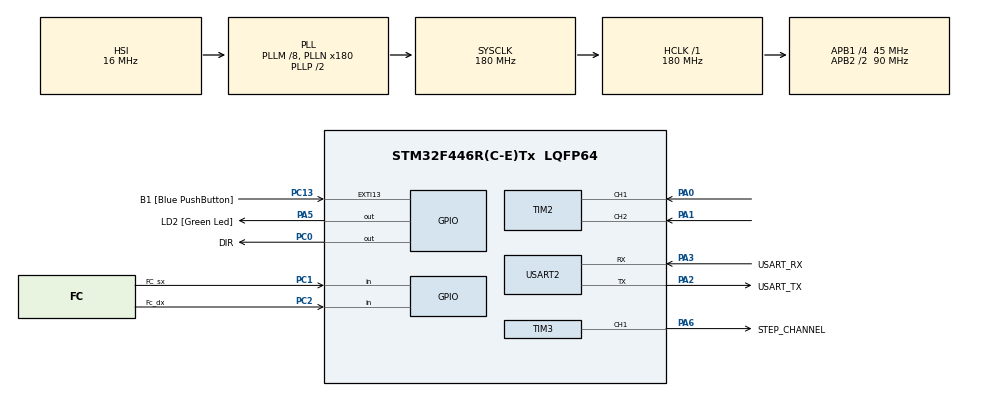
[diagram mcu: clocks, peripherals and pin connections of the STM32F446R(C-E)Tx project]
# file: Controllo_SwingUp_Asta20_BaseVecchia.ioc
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Mcu.Family=STM32F4
Mcu.Name=STM32F446R(C-E)Tx
Mcu.Package=LQFP64
NVIC.EXTI15_10_IRQn=true\:0\:0\:false\:false\:true\:true\:true\:false
NVIC.PriorityGroup=NVIC_PRIORITYGROUP_4
NVIC.TIM3_IRQn=true\:1\:0\:false\:false\:true\:true\:true\:true
PA0-WKUP.GPIO_PuPd=GPIO_PULLUP
PA0-WKUP.Signal=S_TIM2_CH1_ETR
PA1.GPIO_PuPd=GPIO_PULLUP
PA1.Signal=S_TIM2_CH2
PA13.GPIO_Label=TMS
PA13.Mode=Serial_Wire
PA13.Signal=SYS_JTMS-SWDIO
PA14.GPIO_Label=TCK
PA14.Mode=Serial_Wire
PA14.Signal=SYS_JTCK-SWCLK
PA2.GPIO_Label=USART_TX
PA2.Mode=Asynchronous
PA2.Signal=USART2_TX
PA3.GPIO_Label=USART_RX
PA3.Mode=Asynchronous
PA3.Signal=USART2_RX
PA5.GPIO_Label=LD2 [Green Led]
PA5.Signal=GPIO_Output
PA6.GPIO_Label=STEP_CHANNEL
PA6.Signal=S_TIM3_CH1
PB3.GPIO_Label=SWO
PB3.Signal=SYS_JTDO-SWO
PC0.GPIO_Label=DIR
PC0.Signal=GPIO_Output
PC1.GPIO_Label=FC_sx
PC1.GPIO_PuPd=GPIO_PULLDOWN
PC1.Signal=GPIO_Input
PC13.GPIO_Label=B1 [Blue PushButton]
PC13.GPIO_ModeDefaultEXTI=GPIO_MODE_IT_RISING_FALLING
PC13.Signal=GPXTI13
PC14-OSC32_IN.Mode=LSE-External-Oscillator
PC14-OSC32_IN.Signal=RCC_OSC32_IN
PC15-OSC32_OUT.Mode=LSE-External-Oscillator
PC15-OSC32_OUT.Signal=RCC_OSC32_OUT
PC2.GPIO_Label=Fc_dx
PC2.GPIO_PuPd=GPIO_PULLDOWN
PC2.Signal=GPIO_Input
PH0-OSC_IN.Mode=HSE-External-Oscillator
PH0-OSC_IN.Signal=RCC_OSC_IN
PH1-OSC_OUT.Mode=HSE-External-Oscillator
PH1-OSC_OUT.Signal=RCC_OSC_OUT
ProjectManager.HeapSize=0x800
ProjectManager.StackSize=0x800
ProjectManager.TargetToolchain=STM32CubeIDE
RCC.48MHZClocksFreq_Value=84000000
RCC.AHBFreq_Value=180000000
RCC.APB1CLKDivider=RCC_HCLK_DIV4
RCC.APB1Freq_Value=45000000
RCC.APB1TimFreq_Value=90000000
RCC.APB2CLKDivider=RCC_HCLK_DIV2
RCC.APB2Freq_Value=90000000
RCC.APB2TimFreq_Value=180000000
RCC.CortexFreq_Value=180000000
RCC.FLatency-AdvancedSettings=FLASH_LATENCY_5
RCC.HCLKFreq_Value=180000000
RCC.HSE_VALUE=8000000
RCC.HSI_VALUE=16000000
RCC.PLLM=8
RCC.PLLN=180
RCC.PLLP=2
RCC.SYSCLKFreq_VALUE=180000000
RCC.SYSCLKSource=RCC_SYSCLKSOURCE_PLLCLK
RCC.USBFreq_Value=180000000
RCC.VCOOutputFreq_Value=360000000
SH.S_TIM2_CH1_ETR.0=TIM2_CH1,Encoder_Interface
SH.S_TIM2_CH2.0=TIM2_CH2,Encoder_Interface
SH.S_TIM3_CH1.0=TIM3_CH1,PWM Generation1 CH1
STMicroelectronics.X-CUBE-AI.10.1.0.ActivationBufferSizeList=3032
STMicroelectronics.X-CUBE-AI.10.1.0.ActivationBuffers=pool0
STMicroelectronics.X-CUBE-AI.10.1.0.ActivationNames=pool0
STMicroelectronics.X-CUBE-AI.10.1.0.ActivationSizes=AI_NETWORK_DATA_ACTIVATION_1_SIZE
STMicroelectronics.X-CUBE-AI.10.1.0.HeapSize=0x800
STMicroelectronics.X-CUBE-AI.10.1.0.InternalRamActivationBufferMaxSize=AI_NETWORK_DATA_ACTIVATIONS_SIZE
STMicroelectronics.X-CUBE-AI.10.1.0.LatestDirectoryUsed-92f86609272449346e2c80d9b0526046b2d6c99d2a002351901f938909888c08=/Users/salvo/Desktop/Prog Embedded/cart-inverted-pendulum/cart_pendolo_velocita_rl/export_stm32
STMicroelectronics.X-CUBE-AI.10.1.0.MaximumNumberOfInputLayer=1
STMicroelectronics.X-CUBE-AI.10.1.0.MaximumNumberOfOutputLayer=1
STMicroelectronics.X-CUBE-AI.10.1.0.MaximumSizeOfInputLayer=1
STMicroelectronics.X-CUBE-AI.10.1.0.MaximumSizeOfOutputLayer=1
STMicroelectronics.X-CUBE-AI.10.1.0.ModelActualCompression-92f86609272449346e2c80d9b0526046b2d6c99d2a002351901f938909888c08=0.0
STMicroelectronics.X-CUBE-AI.10.1.0.ModelCompression-92f86609272449346e2c80d9b0526046b2d6c99d2a002351901f938909888c08=None
STMicroelectronics.X-CUBE-AI.10.1.0.ModelFlashOccupation-92f86609272449346e2c80d9b0526046b2d6c99d2a002351901f938909888c08=80994
STMicroelectronics.X-CUBE-AI.10.1.0.ModelHashList=92f86609272449346e2c80d9b0526046b2d6c99d2a002351901f938909888c08
STMicroelectronics.X-CUBE-AI.10.1.0.ModelKind-92f86609272449346e2c80d9b0526046b2d6c99d2a002351901f938909888c08=ONNX
STMicroelectronics.X-CUBE-AI.10.1.0.ModelMacc-92f86609272449346e2c80d9b0526046b2d6c99d2a002351901f938909888c08=17803
STMicroelectronics.X-CUBE-AI.10.1.0.ModelName-92f86609272449346e2c80d9b0526046b2d6c99d2a002351901f938909888c08=network
STMicroelectronics.X-CUBE-AI.10.1.0.ModelNameList=network
STMicroelectronics.X-CUBE-AI.10.1.0.ModelRamOccupation-92f86609272449346e2c80d9b0526046b2d6c99d2a002351901f938909888c08=3032
STMicroelectronics.X-CUBE-AI.10.1.0.ModelStructureFile-92f86609272449346e2c80d9b0526046b2d6c99d2a002351901f938909888c08=/Users/salvo/Desktop/Prog Embedded/cart-inverted-pendulum/cart_pendolo_velocita_rl/export_stm32/pendolo_actor.onnx
STMicroelectronics.X-CUBE-AI.10.1.0.ModelType-92f86609272449346e2c80d9b0526046b2d6c99d2a002351901f938909888c08=STM32Cube.AI MCU runtime
STMicroelectronics.X-CUBE-AI.10.1.0.ReadyForCodeGeneration=true
STMicroelectronics.X-CUBE-AI.10.1.0.StackSize=0x800
STMicroelectronics.X-CUBE-AI.10.1.0.WorkingBufferStartAddrList=0xFFFFFFFF
STMicroelectronics.X-CUBE-AI.10.1.0.XAaCUBEAaAICcArtificialOoIntelligenceJjCore=true
STMicroelectronics.X-CUBE-AI.10.1.0.copyWeightToRam-92f86609272449346e2c80d9b0526046b2d6c99d2a002351901f938909888c08=false
STMicroelectronics.X-CUBE-AI.10.1.0.customLayerConfigEnabled-92f86609272449346e2c80d9b0526046b2d6c99d2a002351901f938909888c08=false
STMicroelectronics.X-CUBE-AI.10.1.0.noOnnxIoTranspose-92f86609272449346e2c80d9b0526046b2d6c99d2a002351901f938909888c08=false
STMicroelectronics.X-CUBE-AI.10.1.0.useInputAllocation-92f86609272449346e2c80d9b0526046b2d6c99d2a002351901f938909888c08=true
STMicroelectronics.X-CUBE-AI.10.1.0.useOutputAllocation-92f86609272449346e2c80d9b0526046b2d6c99d2a002351901f938909888c08=true
TIM2.EncoderMode=TIM_ENCODERMODE_TI12
TIM2.IC1Filter=15
TIM2.IC2Filter=15
TIM3.AutoReloadPreload=TIM_AUTORELOAD_PRELOAD_ENABLE
TIM3.Channel-PWM\ Generation1\ CH1=TIM_CHANNEL_1
TIM3.Period=124
TIM3.Prescaler=83
TIM3.Pulse-PWM\ Generation1\ CH1=6
USART2.VirtualMode=VM_ASYNC
VP_CRC_VS_CRC.Mode=CRC_Activate
VP_STMicroelectronics.X-CUBE-AI_VS_ArtificialOoIntelligenceJjXAaCUBEAaAI_10.1.0.Mode=ArtificialOoIntelligenceJjXAaCUBEAaAI
VP_TIM3_VS_ClockSourceINT.Mode=Internal
board=NUCLEO-F446RE

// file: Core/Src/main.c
/* USER CODE BEGIN Header */
/**
  ******************************************************************************
  * @file           : main.c
  * @brief          : Main program body
  ******************************************************************************
  * @attention
  *
  * Copyright (c) 2026 STMicroelectronics.
  * All rights reserved.
  *
  * This software is licensed under terms that can be found in the LICENSE file
  * in the root directory of this software component.
  * If no LICENSE file comes with this software, it is provided AS-IS.
  *
  ******************************************************************************
  */
/* USER CODE END Header */
#include "main.h"

/* USER CODE BEGIN Includes */
#include <math.h>
#include "network.h"
#include "network_data.h"
#include "stima.h"
#include "config_controllo.h"  /* generato da esporta_firmware.py */
#include "reti_candidate.h"    /* generato da esporta_firmware.py (pesi delle reti) */
#include <string.h>

/* USER CODE END Includes */

/* USER CODE BEGIN PD */
/* Swing-up (Controllo_SwingUp_Asta20_BaseVecchia, asta 0,78 / 0,20 m). Tutti i numeri legati all'addestramento
 * (motore, rampa, scale degli ingressi, limite di corsa, stimatore, controlli
 * dell'encoder) sono in Core/Inc/config_controllo.h, scritto da
 * cart_pendolo_velocita_rl/esporta_firmware.py dalla configurazione salvata
 * con la rete. Non correggerli qui: cambiare config.toml e riesportare.
 */
#define MIRCOSTEP CFG_MICROSTEP
#define STEP_CHANNEL TIM_CHANNEL_1
#define MIN_FREQUENCY CFG_FREQ_MIN_HZ
#define MAX_FREQUENCY CFG_FREQ_MAX_HZ
#define STEPPER_ACCELERATION_HZ_PER_S CFG_RAMPA_HZ_S

// tutte i punti di rif sono da dietro
#define DIR_FORWARD  GPIO_PIN_SET   //SInistra (da dietro)
#define DIR_BACKWARD GPIO_PIN_RESET

/* Homing indipendente dalla configurazione della rete (prima: 2 x 3200 Hz). */
#define HOMING_VELOCITY_HZ  (6400.0f)
#define HOMING_TIMEOUT_MS  120000U
#define BUTTON_RELEASE_MS  50U
#define THETA_STABILE_MS    1000U
#define THETA_TIMEOUT_MS   30000U

/* Periodo della rete da config_controllo.h ([episodio].periodo_controllo_s):
 * 20 ms per le reti fino al 14/10, 10 ms per quelle addestrate a 100 Hz. */
#ifndef CFG_PERIODO_CONTROLLO_MS
#define CFG_PERIODO_CONTROLLO_MS 20U
#endif
#ifndef CFG_TICK_FERMO_INVERSIONE
#define CFG_TICK_FERMO_INVERSIONE 0U
#endif
/* Attesa attiva dopo un cambio di DIR a motore fermo: ~300 iterazioni
 * volatili >= 6 us a 180 MHz (TB6600 e simili chiedono 5 us di setup). */
#define DIR_SETUP_CICLI          300U
#define CONTROL_PERIOD_MS        CFG_PERIODO_CONTROLLO_MS
#define MOTOR_PERIOD_MS          2U
#define CONTROL_TIMEOUT_MS       (2U * CONTROL_PERIOD_MS)
#if CONTROL_PERIOD_MS < 4U || (CONTROL_PERIOD_MS % MOTOR_PERIOD_MS) != 0U
#error "Il periodo della rete deve essere un multiplo di 2 ms (almeno 4 ms)"
#endif
#define METRI_PER_STEP           CFG_METRI_PER_STEP
#define POSIZIONE_SCALA_M        CFG_POSIZIONE_SCALA_M
#define VELOCITA_SCALA_M_S       CFG_VELOCITA_SCALA_M_S
#define OMEGA_SCALA_RAD_S        CFG_OMEGA_SCALA_RAD_S

/* Codici di controllo_errore aggiunti in questo progetto. */
#define ERRORE_SALTO_ENCODER     9U   /* lettura encoder fisicamente impossibile */
#define ERRORE_ANGOLO           10U   /* solo equilibrio: pendolo oltre il limite */
#define ERRORE_AVVIO_ANGOLO     11U   /* avvio rifiutato: pendolo non fermo o non in posizione */

/* Hardware-in-the-loop: 1 = la scheda NON muove il motore e non legge
 * l'encoder; riceve dal PC (hil.py, USART2 dell'ST-LINK) le misure simulate,
 * esegue stimatore e rete e restituisce il comando. 0 = funzionamento normale.
 * Rimettere a 0 prima di collegare il motore.
 */
#ifndef HIL_MODE
#define HIL_MODE 0
#endif

#if AI_NETWORK_IN_1_SIZE != 6 || AI_NETWORK_OUT_1_SIZE != 1
#error "La rete deve avere sei ingressi e una uscita"
#endif
/* USER CODE END PD */

CRC_HandleTypeDef hcrc;

TIM_HandleTypeDef htim2;
TIM_HandleTypeDef htim3;

UART_HandleTypeDef huart2;

/* USER CODE BEGIN PV */

// Var encoder
#define ENCODER_CPR  CFG_ENCODER_CPR
#define HALF_CPR     (CFG_ENCODER_CPR / 2)
#define PI_F         3.14159265358979323846f

// Metti -1 se vuoi invertire il verso positivo dell'angolo.
#define ENCODER_SIGN  -1

static uint32_t conteggio_precedente = 0;
static int32_t posizione = HALF_CPR;

volatile float theta_deg = 180.0f;
volatile float theta_rad = PI_F;
/* Le inizializzazioni statiche sopra non sono ancora un riferimento valido. */
volatile uint8_t theta_inizializzato = 0;

// Var stepper
/* Soglia di partenza in Hz, modificabile prima di ogni movimento. */
float max_starting_frequency = 1000.0f;
static float stepper_target_frequency = MAX_FREQUENCY;
static float stepper_counter_clock;
static float stepper_start_frequency;
static uint32_t stepper_ramp_start_ms;
static uint32_t stepper_ramp_last_ms;
static volatile uint8_t stepper_ramp_active = 0;
volatile uint32_t step_count = 0;
volatile uint32_t step_target = 0;
volatile uint8_t stepper_running = 0;
static volatile GPIO_PinState stepper_direction = DIR_FORWARD;
static volatile uint8_t arresto_finecorsa = 0;

/* Riferimento del carrello: zero al finecorsa sinistro, positivo a destra.
 * Stima in impulsi STEP comandati, valida solo dopo homing riuscito.
 */
volatile int32_t posizione_carrello_steps = 0;
volatile int32_t posizione_carrello_min_steps = 0;
volatile int32_t posizione_carrello_max_steps = 0;
volatile uint32_t corsa_totale_steps = 0;
static volatile uint8_t riferimento_carrello_valido = 0;
volatile uint8_t carrello_inizializzato = 0;
volatile HAL_StatusTypeDef inizializzazione_esito = HAL_ERROR;

/* Il main e' l'unico contesto che puo' abilitare il controllo.
 * L'ISR puo' solo richiedere un avvio oppure fermare immediatamente.
 */
volatile uint8_t controllo_abilitato = 0;
static volatile uint8_t richiesta_avvio = 0;
static volatile uint8_t pulsante_pronto = 0;
static volatile uint8_t pulsante_inizializzato = 0;
static volatile uint32_t pulsante_rilascio_ms = 0;

/* Diagnostica osservabile dal debugger: 0=OK, 1=init rete, 2=inferenza,
 * 3=NaN/Inf, 4=finecorsa/limite, 5=deadline, 6=avvio PWM, 7=calibrazione theta. */
volatile uint32_t controllo_errore = 0;
volatile uint8_t rete_pronta = 0;
volatile float rete_osservazione[6];
volatile float rete_azione = 0.0f;
volatile float frequenza_richiesta_hz = 0.0f;
volatile float frequenza_applicata_hz = 0.0f;
volatile float velocita_carrello_m_s = 0.0f;
volatile float velocita_angolare_rad_s = 0.0f;
volatile uint32_t rete_inferenze = 0;
volatile uint32_t rete_durata_ms = 0;
static ai_handle rete = AI_HANDLE_NULL;
/* Piu' reti nello stesso firmware (reti_candidate.c), stessa configurazione.
 * Per cambiarla: a controllo fermo scrivere rete_scelta in Live Expressions;
 * il cambio avviene subito nel ciclo principale e rete_attiva lo conferma.
 * reti_candidate_nomi[rete_attiva] dice quale rete e'. */
volatile uint32_t rete_scelta = 1;
volatile uint32_t rete_attiva = 0;
AI_ALIGNED(4) static ai_u8 rete_activations[AI_NETWORK_DATA_ACTIVATIONS_SIZE];
static ai_buffer *rete_input;
static ai_buffer *rete_output;
volatile ai_error rete_ultimo_errore;
static volatile float frequenza_rampa_hz = 0.0f;
static volatile uint8_t stop_al_fronte_step = 0;
/* Verso da impostare nell'ISR appena il timer si ferma al fronte STEP. */
static volatile GPIO_PinState direzione_dopo_arresto = DIR_FORWARD;
/* Periodi di rampa rimasti con frequenza ferma a zero dopo un'inversione. */
static volatile uint32_t tick_fermo_inversione = 0;
static volatile uint32_t ultimo_comando_ms = 0;
static uint32_t ultimo_motore_ms = 0;
static uint32_t ultimo_campione_ms = 0;
static int32_t ultimo_carrello_steps = 0;
static float ultimo_theta_rad = PI_F;

/* Stimatore dello stato (stima.c), lo stesso usato in addestramento.
 * Predizione in SysTick ogni 2 ms, correzione in Rete_Process ogni CONTROL_PERIOD_MS.
 * La rete riceve x, theta, v, omega STIMATI, non derivati dalle letture.
 */
Stima stima;                         /* osservabile dal debugger */
static volatile uint8_t stima_valida = 0;
static uint32_t ultimo_stima_ms = 0;

/* Limiti di corsa del controllo: centro +/- CFG_LIMITE_CORSA_M, in passi,
 * gli stessi dell'addestramento (prima coincidevano con i finecorsa). */
volatile int32_t limite_controllo_min_steps = 0;
volatile int32_t limite_controllo_max_steps = 0;
/* Encoder: variazione dell'ultima lettura e tempo di quiete (una lettura per periodo). */
volatile int32_t encoder_ultimo_delta = 0;
volatile uint32_t encoder_quiete_ms = 0;
volatile uint32_t encoder_salti = 0;          /* salti scartati, per il debugger */
volatile uint32_t theta_ricalibrazioni = 0;

/* USER CODE END PV */

void SystemClock_Config(void);
static void MX_GPIO_Init(void);
static void MX_USART2_UART_Init(void);
static void MX_TIM2_Init(void);
static void MX_TIM3_Init(void);
static void MX_CRC_Init(void);
/* USER CODE BEGIN PFP */
static void Controllo_Fault(uint32_t errore);
static void Rete_Process(void);
static void Rete_CambiaSeRichiesto(void);
void Controllo_StimaTick(void);

/* USER CODE END PFP */

/* USER CODE BEGIN 0 */

/* Prima dell'abilitazione di B1, l'homing iniziale e' indipendente
 * dal comando del controllo. Dopo, ogni avvio richiede l'abilitazione.
 */
static uint8_t Stepper_MovimentoConsentito(void)
{
    return !pulsante_inizializzato || controllo_abilitato;
}

/* Attesa interrompibile: le vecchie sequenze devono uscire prima che
 * il main possa accettare una nuova richiesta di avvio.
 */
static uint8_t Controllo_Attendi(uint32_t durata_ms)
{
    uint32_t inizio = HAL_GetTick();
    while (Stepper_MovimentoConsentito()
           && (uint32_t)(HAL_GetTick() - inizio) < durata_ms)
        HAL_Delay(1);
    return Stepper_MovimentoConsentito();
}

/* Chiamata da SysTick durante i movimenti bloccanti nel main.
 * Nessun ritardo sul primo fronte di pressione; un'altra pressione viene
 * accettata solo dopo almeno 50 ms di rilascio stabile (PC13 alto).
 */
void Controllo_ButtonTick(void)
{
    if (!pulsante_inizializzato)
        return;
    uint32_t primask = __get_PRIMASK();
    __disable_irq();
    if (HAL_GPIO_ReadPin(B1_GPIO_Port, B1_Pin) == GPIO_PIN_RESET)
        pulsante_rilascio_ms = 0;
    else if (pulsante_rilascio_ms < BUTTON_RELEASE_MS)
        ++pulsante_rilascio_ms;
    else
        pulsante_pronto = 1;
    __set_PRIMASK(primask);
}

void Leggi_theta(){
	uint32_t conteggio = __HAL_TIM_GET_COUNTER(&htim2);

	int64_t delta = (int64_t)conteggio
				- (int64_t)conteggio_precedente;

	conteggio_precedente = conteggio;

	// Gestione del passaggio attraverso lo zero del timer a 32 bit.
	if (delta > 2147483647LL)
	  delta -= 4294967296LL;
	else if (delta < -2147483648LL)
	  delta += 4294967296LL;
	encoder_ultimo_delta = (int32_t)delta;

	// Aggiorna la posizione e la riporta entro un giro.
	int64_t nuova_posizione =
	  ((int64_t)posizione + ENCODER_SIGN * delta) % ENCODER_CPR;

	// Intervallo conteggi: (-1200, +1200].
	if (nuova_posizione > HALF_CPR)
	  nuova_posizione -= ENCODER_CPR;
	else if (nuova_posizione <= -HALF_CPR)
	  nuova_posizione += ENCODER_CPR;

	posizione = (int32_t)nuova_posizione;

	// Le due uscite richieste.
	theta_deg = (float)posizione * (360.0f / ENCODER_CPR);
	theta_rad = (float)posizione * (2.0f * PI_F / ENCODER_CPR);
}

/* Pull-down esterno: 1 quando il contatto porta PC1 a livello alto,
 * 0 quando l'ingresso e' basso. Lettura istantanea senza antirimbalzo.
 */
uint8_t FinecorsaSinistro_Premuto(void)
{
    return HAL_GPIO_ReadPin(FC_sx_GPIO_Port, FC_sx_Pin) == GPIO_PIN_SET;
}

/* Come il sinistro: pull-down esterno, contatto premuto a livello alto. */
uint8_t FinecorsaDestro_Premuto(void)
{
    return HAL_GPIO_ReadPin(Fc_dx_GPIO_Port, Fc_dx_Pin) == GPIO_PIN_SET;
}

static uint8_t FinecorsaDirezione_Premuto(GPIO_PinState direction)
{
    return (direction == DIR_FORWARD) ? FinecorsaSinistro_Premuto()
                                      : FinecorsaDestro_Premuto();
}

void Stepper_SetDirection(GPIO_PinState dir)
{
    stepper_direction = dir;
    HAL_GPIO_WritePin(DIR_GPIO_Port, DIR_Pin, dir);
}

void Stepper_Stop(void)
{
    HAL_TIM_PWM_Stop_IT(&htim3, STEP_CHANNEL);
    stepper_running = 0;
    stepper_ramp_active = 0;
    frequenza_applicata_hz = 0.0f;
    stop_al_fronte_step = 0;
}

/* Prima dell'homing, a motore fermo: lasciare il pendolo libero verso
 * il basso. L'encoder incrementale verifica la quiete, non la verticalita'.
 * Ogni variazione del contatore fa ripartire l'attesa di un secondo.
 */
static HAL_StatusTypeDef Inizializza_Theta(void)
{
    Stepper_Stop();
    theta_inizializzato = 0;
    uint32_t inizio = HAL_GetTick();
    uint32_t stabile_da = inizio;
    uint32_t riferimento = __HAL_TIM_GET_COUNTER(&htim2);

    while ((uint32_t)(HAL_GetTick() - inizio) < THETA_TIMEOUT_MS)
    {
        uint32_t conteggio = __HAL_TIM_GET_COUNTER(&htim2);
        uint32_t now = HAL_GetTick();
        if (conteggio != riferimento)
        {
            riferimento = conteggio;
            stabile_da = now;
        }
        else if ((uint32_t)(now - stabile_da) >= THETA_STABILE_MS)
        {
            /* Usa il conteggio acquisito come origine senza resettare TIM2:
             * gli impulsi successivi, anche durante l'homing, restano validi. */
            conteggio_precedente = riferimento;
            posizione = HALF_CPR;
            theta_deg = 180.0f;
            theta_rad = PI_F;
            ultimo_theta_rad = theta_rad;
            velocita_angolare_rad_s = 0.0f;
            theta_inizializzato = 1;
            return HAL_OK;
        }
        HAL_Delay(1);
    }
    return HAL_TIMEOUT;
}

static void Controllo_Disabilita(void)
{
    controllo_abilitato = 0;
    frequenza_richiesta_hz = 0.0f;
    frequenza_rampa_hz = 0.0f;
    rete_azione = 0.0f;
    Stepper_Stop();
    HAL_GPIO_WritePin(LD2_GPIO_Port, LD2_Pin, GPIO_PIN_RESET);
}

/* Limiti del controllo: centro della corsa misurata +/- CFG_LIMITE_CORSA_M,
 * mai oltre i finecorsa. Python: x = (passi - corsa/2)*m_passo, stop a |x| >= limite. */
static void Calcola_LimitiControllo(void)
{
    float centro = 0.5f * (float)corsa_totale_steps;
    float mezzo = CFG_LIMITE_CORSA_M / METRI_PER_STEP;
    int32_t lo = (int32_t)ceilf(centro - mezzo);
    int32_t hi = (int32_t)floorf(centro + mezzo);
    if (lo < posizione_carrello_min_steps)
        lo = posizione_carrello_min_steps;
    if (hi > posizione_carrello_max_steps)
        hi = posizione_carrello_max_steps;
    limite_controllo_min_steps = lo;
    limite_controllo_max_steps = hi;
}

/* Imposta l'angolo corrente al valore iniziale dell'addestramento
 * (CFG_ANGOLO_INIZIALE_RAD, -180 gradi = appeso) senza toccare TIM2. */
static void Theta_Ricalibra(void)
{
    int32_t conteggi = (int32_t)lroundf(CFG_ANGOLO_INIZIALE_RAD * (float)ENCODER_CPR / (2.0f * PI_F));
    conteggi %= ENCODER_CPR;
    if (conteggi > HALF_CPR)
        conteggi -= ENCODER_CPR;
    else if (conteggi <= -HALF_CPR)
        conteggi += ENCODER_CPR;
    conteggio_precedente = __HAL_TIM_GET_COUNTER(&htim2);
    posizione = conteggi;
    theta_deg = (float)posizione * (360.0f / ENCODER_CPR);
    theta_rad = (float)posizione * (2.0f * PI_F / ENCODER_CPR);
    ultimo_theta_rad = theta_rad;
    ++theta_ricalibrazioni;
}

/* Tipo di partenza accettato da B1 (osservabile dal debugger):
 * 0 = nessuna, 1 = swing-up da appeso, 2 = equilibrio dall'alto. */
volatile uint8_t avvio_modo = 0;

/* Condizione sull'angolo per accettare B1, in base all'angolo LETTO.
 * Swing-up:
 *  - angolo entro CFG_ANGOLO_RICALIBRAZIONE_RAD da quello iniziale (-180 gradi):
 *    pendolo appeso. Con CFG_RICALIBRA_THETA e encoder fermo da
 *    CFG_TEMPO_QUIETE_MS l'angolo torna esattamente a -180 gradi (si cancellano
 *    gli errori accumulati dall'encoder), poi swing-up;
 *  - angolo entro CFG_ANGOLO_MAX_AVVIO_RAD da 0: pendolo portato su a mano,
 *    nessuna ricalibrazione, la rete parte direttamente con l'equilibrio;
 *  - altrimenti avvio rifiutato.
 * Solo equilibrio: pendolo vicino alla verticale alta.
 */
static uint8_t Theta_ProntoPerAvvio(void)
{
    avvio_modo = 0;
#if CFG_SWING_UP
    if (fabsf(Stima_Wrap(theta_rad - CFG_ANGOLO_INIZIALE_RAD)) <= CFG_ANGOLO_RICALIBRAZIONE_RAD)
    {
#if CFG_RICALIBRA_THETA
        if (encoder_quiete_ms < CFG_TEMPO_QUIETE_MS)
            return 0;
        Theta_Ricalibra();
#endif
        avvio_modo = 1;
        return 1;
    }
#endif
    if (fabsf(Stima_Wrap(theta_rad)) <= CFG_ANGOLO_MAX_AVVIO_RAD)
    {
        avvio_modo = 2;
        return 1;
    }
    return 0;
}

/* Chiamare solo dal main, dopo l'uscita da ogni sequenza precedente. */
static void Controllo_AccettaAvvio(void)
{
    uint32_t primask = __get_PRIMASK();
    __disable_irq();
    if (richiesta_avvio)
    {
        richiesta_avvio = 0;
        if (rete_pronta && theta_inizializzato
            && carrello_inizializzato && riferimento_carrello_valido
            && !FinecorsaSinistro_Premuto() && !FinecorsaDestro_Premuto()
            && posizione_carrello_steps > limite_controllo_min_steps
            && posizione_carrello_steps < limite_controllo_max_steps)
        {
            if (!Theta_ProntoPerAvvio())
            {
                controllo_errore = ERRORE_AVVIO_ANGOLO;
            }
            else
            {
                controllo_errore = 0;
                arresto_finecorsa = 0;
                frequenza_richiesta_hz = 0.0f;
                frequenza_rampa_hz = 0.0f;
                tick_fermo_inversione = 0U;
                /* Stimatore ripartito dalla lettura attuale: pendolo e carrello fermi,
                 * come al reset dell'episodio in addestramento. */
                float x = ((float)posizione_carrello_steps - 0.5f * (float)corsa_totale_steps)
                          * METRI_PER_STEP;
                Stima_Reset(&stima, x, theta_rad, 0.0f);
                stima_valida = 1;
                ultimo_comando_ms = HAL_GetTick();
                ultimo_motore_ms = ultimo_comando_ms;
                ultimo_stima_ms = ultimo_comando_ms;
                controllo_abilitato = 1;
                HAL_GPIO_WritePin(LD2_GPIO_Port, LD2_Pin, GPIO_PIN_SET);
            }
        }
    }
    __set_PRIMASK(primask);
}

/* Check e avvio devono essere indivisibili rispetto all'ISR di stop.
 * Sezione breve, senza attese: HAL_TIM_PWM_Start_IT scrive solo registri.
 * Nel main gli avvii richiedono B1; l'homing iniziale resta autonomo.
 */
static void Stepper_StartIfEnabled(void)
{
    uint32_t primask = __get_PRIMASK();
    __disable_irq();
    if (Stepper_MovimentoConsentito())
    {
        stepper_running = 1;
        if (HAL_TIM_PWM_Start_IT(&htim3, STEP_CHANNEL) != HAL_OK)
            Stepper_Stop();
    }
    else
        Stepper_Stop();
    __set_PRIMASK(primask);
}

static float Stepper_ClampFrequency(float frequency)
{
    if (!isfinite(frequency) || frequency < MIN_FREQUENCY)
        return MIN_FREQUENCY;
    if (frequency > MAX_FREQUENCY)
        return MAX_FREQUENCY;
    return frequency;
}

/* ARR e CCR vengono applicati insieme al prossimo periodo PWM.
 * Non generare UG durante il moto: troncherebbe il periodo corrente.
 */
static void Stepper_ApplyFrequency(float frequency)
{
    float period = ceilf(stepper_counter_clock / frequency);
    if (period > 65536.0f)
        period = 65536.0f;
    else if (period < 2.0f)
        period = 2.0f;
    uint32_t ticks = (uint32_t)period;

    /* Protegge anche il read/modify/write di CR1 da uno stop concorrente. */
    uint32_t primask = __get_PRIMASK();
    __disable_irq();
    SET_BIT(htim3.Instance->CR1, TIM_CR1_UDIS);
    __HAL_TIM_SET_AUTORELOAD(&htim3, ticks - 1U);
    __HAL_TIM_SET_COMPARE(&htim3, STEP_CHANNEL, ticks / 2U);
    CLEAR_BIT(htim3.Instance->CR1, TIM_CR1_UDIS);
    __set_PRIMASK(primask);
}

/* Chiamata a timer fermo per OGNI nuovo movimento, anche dopo uno stop
 * anticipato. La frequenza obiettivo resta separata da quella della rampa.
 */
static void Stepper_PrepareRamp(void)
{
    uint32_t timer_clock = HAL_RCC_GetPCLK1Freq();
    if ((RCC->CFGR & RCC_CFGR_PPRE1) != 0U)
        timer_clock *= 2U;
    stepper_counter_clock = (float)timer_clock / (htim3.Instance->PSC + 1U);

    stepper_target_frequency = Stepper_ClampFrequency(stepper_target_frequency);
    float starting_limit = Stepper_ClampFrequency(max_starting_frequency);
    stepper_start_frequency = fminf(stepper_target_frequency, starting_limit);
    stepper_ramp_active = stepper_target_frequency > stepper_start_frequency;
    Stepper_ApplyFrequency(stepper_start_frequency);
    htim3.Instance->EGR = TIM_EGR_UG;
    __HAL_TIM_SET_COUNTER(&htim3, 0);
    __HAL_TIM_CLEAR_FLAG(&htim3, TIM_FLAG_UPDATE | TIM_FLAG_CC1);
    stepper_ramp_start_ms = HAL_GetTick();
    stepper_ramp_last_ms = stepper_ramp_start_ms;
}

/* Aggiornamento non bloccante dal callback degli impulsi STEP.
 * La rampa e' lineare nel tempo e termina esattamente all'obiettivo.
 */
static void Stepper_UpdateRamp(void)
{
    if (!stepper_ramp_active)
        return;
    uint32_t now = HAL_GetTick();
    if (now == stepper_ramp_last_ms)
        return;
    stepper_ramp_last_ms = now;
    float frequency = stepper_start_frequency
        + STEPPER_ACCELERATION_HZ_PER_S * 0.001f
        * (uint32_t)(now - stepper_ramp_start_ms);
    if (frequency >= stepper_target_frequency)
    {
        frequency = stepper_target_frequency;
        stepper_ramp_active = 0;
    }
    Stepper_ApplyFrequency(frequency);
}

void Stepper_MoveSteps(uint32_t steps)
{
    Stepper_Stop();
    step_count = 0;
    step_target = steps;
    arresto_finecorsa = 0;

    if (!Stepper_MovimentoConsentito())
        return;
    if (FinecorsaDirezione_Premuto(stepper_direction))
    {
        arresto_finecorsa = 1;
        return;
    }
    if (steps == 0U)
        return;

    Stepper_PrepareRamp();
    Stepper_StartIfEnabled();
}

void Stepper_Move(GPIO_PinState direction, uint32_t steps)
{
    Stepper_Stop();
    Stepper_SetDirection(direction);
    if (!Controllo_Attendi(1))
        return;
    Stepper_MoveSteps(steps);

    while (stepper_running)
    {
        if (FinecorsaDirezione_Premuto(direction))
        {
            Stepper_Stop();
            arresto_finecorsa = 1;
        }
    }
}

/* velocity: impulsi STEP al secondo, limitati a MIN/MAX_FREQUENCY.
 * Valori non positivi/non finiti fermano il motore. Ogni chiamata riparte
 * al massimo da max_starting_frequency e accelera fino a velocity.
 */
void Stepper_set_velocity(GPIO_PinState direction, float velocity)
{
    Stepper_Stop();
    step_count = 0;
    step_target = 0; /* Zero identifica il movimento continuo. */
    arresto_finecorsa = 0;

    if (!Stepper_MovimentoConsentito() || !isfinite(velocity) || velocity <= 0.0f)
        return;

    stepper_target_frequency = Stepper_ClampFrequency(velocity);
    Stepper_SetDirection(direction);
    if (!Controllo_Attendi(1))
        return;
    if (FinecorsaDirezione_Premuto(direction))
    {
        arresto_finecorsa = 1;
        return;
    }

    Stepper_PrepareRamp();
    Stepper_StartIfEnabled();
}

/* Da qualsiasi posizione cerca lentamente il finecorsa destro e azzera
 * il conteggio; misura poi la corsa fino a sinistra e torna al centro a 8 kHz.
 * Il riferimento finale resta zero a sinistra, positivo a destra.
 * Chiamare dal main dopo MX_TIM3_Init(), mai da un interrupt.
 */
void Inizializza(void)
{
    Stepper_Stop();
    carrello_inizializzato = 0;
    riferimento_carrello_valido = 0;
    inizializzazione_esito = HAL_BUSY;
    arresto_finecorsa = 0;
    corsa_totale_steps = 0;
    posizione_carrello_min_steps = 0;
    posizione_carrello_max_steps = 0;
    posizione_carrello_steps = 0;

    /* Il controllo direzionale consente di partire anche da un finecorsa.
     * Se siamo gia' a destra, il motore non emette alcun impulso.
     */
    Stepper_set_velocity(DIR_BACKWARD, HOMING_VELOCITY_HZ);
    uint32_t inizio = HAL_GetTick();
    while (stepper_running)
    {
        /* L'ISR arresta il moto al termine della fase alta dello STEP. */
        if ((uint32_t)(HAL_GetTick() - inizio) >= HOMING_TIMEOUT_MS)
        {
            Stepper_Stop();
            inizializzazione_esito = HAL_TIMEOUT;
            return;
        }
        HAL_Delay(1);
    }

    Stepper_Stop();
    HAL_Delay(20);
    if (!arresto_finecorsa || !FinecorsaDestro_Premuto()
        || FinecorsaSinistro_Premuto())
    {
        inizializzazione_esito = HAL_ERROR;
        return;
    }

    /* Zero della misura della corsa al contatto destro confermato. */
    step_count = 0;
    posizione_carrello_steps = 0;
    Stepper_set_velocity(DIR_FORWARD, HOMING_VELOCITY_HZ);
    inizio = HAL_GetTick();
    while (stepper_running)
    {
        /* L'ISR conta l'impulso e controlla il finecorsa al termine
         * della fase alta: non troncare qui un impulso da contare.
         */
        if ((uint32_t)(HAL_GetTick() - inizio) >= HOMING_TIMEOUT_MS)
        {
            Stepper_Stop();
            inizializzazione_esito = HAL_TIMEOUT;
            return;
        }
        HAL_Delay(1);
    }

    Stepper_Stop();
    HAL_Delay(20); /* Conferma del contatto a motore fermo. */
    if (!arresto_finecorsa || !FinecorsaSinistro_Premuto()
        || step_count < 2U || step_count > INT32_MAX)
    {
        inizializzazione_esito = HAL_ERROR;
        return;
    }

    /* Salvare la misura prima che il prossimo movimento azzeri step_count. */
    corsa_totale_steps = step_count;
    posizione_carrello_min_steps = 0;
    posizione_carrello_max_steps = (int32_t)corsa_totale_steps;
    posizione_carrello_steps = posizione_carrello_min_steps;
    riferimento_carrello_valido = 1;

    /* Con corsa dispari, il centro e' arrotondato verso sinistra. */
    uint32_t passi_centro = corsa_totale_steps / 2U;
    Stepper_SetDirection(DIR_BACKWARD);
    HAL_Delay(1);
    stepper_target_frequency = MAX_FREQUENCY;
    Stepper_MoveSteps(passi_centro);
    inizio = HAL_GetTick();
    while (stepper_running)
    {
        if ((uint32_t)(HAL_GetTick() - inizio) >= HOMING_TIMEOUT_MS)
        {
            Stepper_Stop();
            riferimento_carrello_valido = 0;
            inizializzazione_esito = HAL_TIMEOUT;
            return;
        }
        HAL_Delay(1);
    }

    if (arresto_finecorsa || step_count != passi_centro)
    {
        riferimento_carrello_valido = 0;
        inizializzazione_esito = HAL_ERROR;
        return;
    }
    carrello_inizializzato = 1;
    inizializzazione_esito = HAL_OK;
}

static void Controllo_Fault(uint32_t errore)
{
    uint32_t primask = __get_PRIMASK();
    __disable_irq();
    controllo_errore = errore;
    richiesta_avvio = 0;
    Controllo_Disabilita();
    __set_PRIMASK(primask);
}

static uint8_t Rete_Init(void)
{
    const ai_handle activations[] = { AI_HANDLE_PTR(rete_activations) };
    const ai_handle pesi[] = { reti_candidate_pesi[rete_attiva] };
    /* Ogni rete ha i guadagni dello stimatore con cui e' stata provata. */
    stima_l_theta = reti_candidate_stima[rete_attiva].l_theta;
    stima_l_omega = reti_candidate_stima[rete_attiva].l_omega;
    stima_l_b = reti_candidate_stima[rete_attiva].l_b;
    stima_l_x = reti_candidate_stima[rete_attiva].l_x;
    rete_ultimo_errore = ai_network_create_and_init(&rete, activations, pesi);
    if (rete_ultimo_errore.type != AI_ERROR_NONE)
        return 0;
    rete_input = ai_network_inputs_get(rete, NULL);
    rete_output = ai_network_outputs_get(rete, NULL);
    if (rete_input == NULL || rete_output == NULL
        || rete_input[0].data == AI_HANDLE_NULL
        || rete_output[0].data == AI_HANDLE_NULL)
        return 0;
    rete_pronta = 1;
    return 1;
}

/* Solo dal main e a controllo fermo: distrugge la rete attuale e la ricrea
 * con i pesi di rete_scelta (stessa struttura X-CUBE-AI, cambia solo l'array). */
static void Rete_CambiaSeRichiesto(void)
{
    uint32_t scelta = rete_scelta;
    if (controllo_abilitato || scelta == rete_attiva || scelta >= RETI_CANDIDATE_N)
        return;
    rete_pronta = 0;
    if (rete != AI_HANDLE_NULL)
        rete = ai_network_destroy(rete);
    rete_attiva = scelta;
    if (!Rete_Init())
        controllo_errore = 1;
}

/* Eseguita da SysTick: rampa indipendente dal tempo di inferenza.
 * Non chiama HAL_Delay e non esegue la rete in interrupt.
 * L'inversione attende il fronte di discesa STEP e lascia DIR stabile
 * almeno un intervallo di rampa prima di riavviare il timer.
 */
void Controllo_MotorTick(void)
{
    if (!pulsante_inizializzato || !controllo_abilitato)
        return;
    uint32_t primask = __get_PRIMASK();
    __disable_irq();
    uint32_t now = HAL_GetTick();
    /* Ricontrollo dopo la mascheratura: B1 puo' aver interrotto SysTick. */
    if (!controllo_abilitato)
        goto done;
    if (FinecorsaSinistro_Premuto() || FinecorsaDestro_Premuto()
        || posizione_carrello_steps <= limite_controllo_min_steps
        || posizione_carrello_steps >= limite_controllo_max_steps)
    {
        Controllo_Fault(4);
        goto done;
    }
    if ((uint32_t)(now - ultimo_comando_ms) >= CONTROL_TIMEOUT_MS)
    {
        Controllo_Fault(5);
        goto done;
    }
    if ((uint32_t)(now - ultimo_motore_ms) < MOTOR_PERIOD_MS)
        goto done;
    ultimo_motore_ms = now;

    /* Un solo passo da 2 ms; nessun salto di accelerazione dopo un ritardo.
     * Stessa logica di ControlloStepper.avanza (stepper.py). */
    float delta_max = STEPPER_ACCELERATION_HZ_PER_S * MOTOR_PERIOD_MS / 1000.0f;
    float delta = frequenza_richiesta_hz - frequenza_rampa_hz;
    float nuova = frequenza_rampa_hz + fmaxf(-delta_max, fminf(delta, delta_max));
#if CFG_TICK_FERMO_INVERSIONE > 0
    /* Inversione: la rampa si ferma a zero (arresto al fronte STEP e cambio DIR)
     * per CFG_TICK_FERMO_INVERSIONE periodi, poi riparte da zero nel nuovo verso. */
    if (nuova * frequenza_rampa_hz < 0.0f)
    {
        nuova = 0.0f;
        tick_fermo_inversione = CFG_TICK_FERMO_INVERSIONE - 1U;
    }
    else if (tick_fermo_inversione > 0U)
    {
        nuova = 0.0f;
        --tick_fermo_inversione;
    }
#endif
    float hz = fabsf(nuova);
    /* Verso del movimento: quello della rampa o, a rampa ferma, della richiesta. */
    float verso = (nuova != 0.0f) ? nuova : frequenza_richiesta_hz;
    GPIO_PinState dir = verso > 0.0f ? DIR_BACKWARD : DIR_FORWARD;
    uint8_t sotto_minimo = hz < stepper_counter_clock / 65536.0f;

    /* TIM3 a 16 bit: sotto la frequenza rappresentabile non emettere STEP.
     * Fermata o cambio di verso: arresto al prossimo fronte di discesa, l'ISR
     * imposta subito il nuovo DIR. Intanto la rampa resta a zero: alla
     * ripartenza nessun salto di frequenza. */
    if (stepper_running && (sotto_minimo || dir != stepper_direction || stop_al_fronte_step))
    {
        direzione_dopo_arresto = dir;
        stop_al_fronte_step = 1;
        frequenza_rampa_hz = 0.0f;
        goto done;
    }
    frequenza_rampa_hz = nuova;
    if (sotto_minimo)
        goto done;
    if (!stepper_running && dir != stepper_direction)
    {
        /* Motore fermo nel verso opposto (partenza, o richiesta cambiata durante
         * l'arresto): nuovo DIR e attesa del tempo di setup del driver (>= 5 us)
         * prima del primo impulso, nello stesso periodo come in stepper.py. */
        Stepper_SetDirection(dir);
        for (volatile uint32_t k = 0; k < DIR_SETUP_CICLI; ++k)
        {
        }
    }
    Stepper_ApplyFrequency(hz);
    if (!stepper_running)
    {
        step_count = 0;
        step_target = 0;
        stepper_ramp_active = 0; /* La rampa RL sostituisce quella di homing. */
        htim3.Instance->EGR = TIM_EGR_UG;
        __HAL_TIM_SET_COUNTER(&htim3, 0);
        __HAL_TIM_CLEAR_FLAG(&htim3, TIM_FLAG_UPDATE | TIM_FLAG_CC1);
        Stepper_StartIfEnabled();
        if (!stepper_running)
        {
            Controllo_Fault(6);
            goto done;
        }
    }
    /* Frequenza quantizzata realmente programmata, non l'uscita della rete. */
    frequenza_applicata_hz = (dir == DIR_BACKWARD ? 1.0f : -1.0f)
        * stepper_counter_clock / (float)(htim3.Instance->ARR + 1U);
done:
    __set_PRIMASK(primask);
}

/* I sei ingressi della rete dalla stima: stesse scale dell'addestramento. */
static void Rete_Osservazione(const Stima *st, float applied_hz, volatile float obs[6])
{
    obs[0] = st->x / POSIZIONE_SCALA_M;
    obs[1] = sinf(st->theta);
    obs[2] = cosf(st->theta);
    obs[3] = st->velocita / VELOCITA_SCALA_M_S;
    obs[4] = st->omega / OMEGA_SCALA_RAD_S;
    obs[5] = applied_hz / MAX_FREQUENCY;
}

/* Uscita della rete [-1,1] -> frequenza STEP firmata, come stepper.py
 * (ControlloStepper.azione_a_hz), zona morta compresa. */
static float Rete_AzioneInHz(float action)
{
    float modulo = fabsf(action);
    if (modulo <= CFG_ZONA_MORTA)
        return 0.0f;
    float frazione = (modulo - CFG_ZONA_MORTA) / (1.0f - CFG_ZONA_MORTA);
    return copysignf(MIN_FREQUENCY + frazione * (MAX_FREQUENCY - MIN_FREQUENCY), action);
}

/* Eseguita da SysTick dopo Controllo_MotorTick: predizione dello stimatore
 * ogni 2 ms con la velocita' STEP effettivamente programmata (zero se il
 * timer e' fermo, anche durante la pausa per il cambio di DIR).
 * Fuori dal controllo il carrello e' considerato fermo.
 */
void Controllo_StimaTick(void)
{
    if (!stima_valida)
        return;
    uint32_t now = HAL_GetTick();
    if ((uint32_t)(now - ultimo_stima_ms) < MOTOR_PERIOD_MS)
        return;
    ultimo_stima_ms = now;
    float v = (controllo_abilitato && stepper_running)
        ? frequenza_applicata_hz * METRI_PER_STEP : 0.0f;
    Stima_Predici(&stima, v, MOTOR_PERIOD_MS * 0.001f);
}

/* Campionamento anche a controllo fermo: lo stimatore resta aggiornato.
 * La posizione del carrello viene dagli STEP emessi (nessun encoder lineare);
 * le velocita' vengono dallo stimatore, non da differenze fra letture.
 */
static void Rete_Process(void)
{
    uint32_t now = HAL_GetTick();
    uint32_t elapsed = (uint32_t)(now - ultimo_campione_ms);
    if (elapsed < CONTROL_PERIOD_MS)
        return;
    /* Periodo fisso senza deriva; se si e' in ritardo di un periodo intero, riallinea. */
    ultimo_campione_ms += CONTROL_PERIOD_MS;
    if ((uint32_t)(now - ultimo_campione_ms) >= CONTROL_PERIOD_MS)
        ultimo_campione_ms = now;
    Leggi_theta();
    int32_t delta_encoder = encoder_ultimo_delta;
    uint32_t salto_max = (CFG_SALTO_ENCODER_MAX * elapsed + CONTROL_PERIOD_MS - 1U) / CONTROL_PERIOD_MS;
    /* Quiete: al piu' un conteggio (fronte che vibra) per lettura. */
    if (delta_encoder >= -1 && delta_encoder <= 1)
    {
        if (encoder_quiete_ms < 0x7FFFFFFFU)
            encoder_quiete_ms += elapsed;
    }
    else
        encoder_quiete_ms = 0;
    if ((uint32_t)(delta_encoder < 0 ? -delta_encoder : delta_encoder) > salto_max)
    {
        /* Piu' di CFG_SALTO_ENCODER_MAX conteggi in un periodo: disturbo, non moto. */
        ++encoder_salti;
        if (controllo_abilitato)
        {
            Controllo_Fault(ERRORE_SALTO_ENCODER);
            return;
        }
    }
#if !CFG_SWING_UP
    if (controllo_abilitato && fabsf(theta_rad) > CFG_ANGOLO_MAX_CONTROLLO_RAD)
    {
        Controllo_Fault(ERRORE_ANGOLO);
        return;
    }
#endif
    int32_t cart_steps;
    float applied_hz;
    uint32_t primask = __get_PRIMASK();
    __disable_irq();
    cart_steps = posizione_carrello_steps;
    applied_hz = frequenza_applicata_hz;
    __set_PRIMASK(primask);
    float x_misurata = (cart_steps - 0.5f * (float)corsa_totale_steps) * METRI_PER_STEP;
    ultimo_theta_rad = theta_rad;
    ultimo_carrello_steps = cart_steps;

    /* Correzione dello stimatore; SysTick non deve predire a meta' aggiornamento. */
    Stima st;
    primask = __get_PRIMASK();
    __disable_irq();
    if (!stima_valida)
    {
        /* Prima lettura dopo l'homing: pendolo fermo, carrello fermo. */
        Stima_Reset(&stima, x_misurata, theta_rad, 0.0f);
        ultimo_stima_ms = HAL_GetTick();
        stima_valida = 1;
    }
    else
        Stima_Correggi(&stima, x_misurata, theta_rad);
    /* A controllo fermo il conteggio STEP e' esatto: niente deriva della stima. */
    if (!controllo_abilitato)
        stima.x = x_misurata;
    st = stima;
    __set_PRIMASK(primask);
    velocita_carrello_m_s = st.velocita;
    velocita_angolare_rad_s = st.omega;

    Rete_Osservazione(&st, applied_hz, rete_osservazione);
    if (!controllo_abilitato || !rete_pronta)
        return;
    ai_float *input = (ai_float *)rete_input[0].data;
    for (uint32_t i = 0; i < 6U; ++i)
    {
        if (!isfinite(rete_osservazione[i]))
        {
            Controllo_Fault(3);
            return;
        }
        input[i] = rete_osservazione[i];
    }
    uint32_t start = HAL_GetTick();
    ai_i32 batches = ai_network_run(rete, rete_input, rete_output);
    rete_durata_ms = (uint32_t)(HAL_GetTick() - start);
    if (batches != 1)
    {
        rete_ultimo_errore = ai_network_get_error(rete);
        rete_pronta = 0;
        Controllo_Fault(2);
        return;
    }
    float action = ((ai_float *)rete_output[0].data)[0];
    if (!isfinite(action))
    {
        Controllo_Fault(3);
        return;
    }
    action = fmaxf(-1.0f, fminf(action, 1.0f));
    float requested = Rete_AzioneInHz(action);
    primask = __get_PRIMASK();
    __disable_irq();
    /* Uno stop durante ai_network_run non puo' essere annullato dal risultato. */
    if (controllo_abilitato)
    {
        if ((uint32_t)(HAL_GetTick() - now) >= CONTROL_PERIOD_MS)
            Controllo_Fault(5);
        else
        {
            rete_azione = action;
            frequenza_richiesta_hz = requested;
            ultimo_comando_ms = HAL_GetTick();
            ++rete_inferenze;
        }
    }
    __set_PRIMASK(primask);
}

#if HIL_MODE
/* ------------------------------------------------------------------------
 * Hardware-in-the-loop (vedi HIL.md). Protocollo su USART2, little-endian:
 *   PC -> scheda: A5 5A | HilRichiesta (58 byte) | checksum
 *   scheda -> PC: A5 5A | HilRisposta  (60 byte) | checksum
 * checksum = complemento a due della somma dei byte del corpo.
 * comando 0 = inizio episodio (Stima_Reset), 1 = passo di CONTROL_PERIOD_MS
 * (n predizioni da 2 ms con le velocita' v[], poi correzione), 2 = ping.
 * Una richiesta con lo stesso seq della precedente non viene rieseguita:
 * si rispedisce la risposta precedente (ritrasmissione dopo un timeout).
 * ------------------------------------------------------------------------ */
#define HIL_SYNC0 0xA5U
#define HIL_SYNC1 0x5AU
#define HIL_MAX_PREDIZIONI 10U

typedef struct __attribute__((packed))
{
    uint8_t comando;
    uint8_t n;
    uint32_t seq;
    float v[HIL_MAX_PREDIZIONI];  /* m/s dopo la rampa, uno ogni 2 ms */
    float x;                      /* m, misura simulata rispetto al centro */
    float theta;                  /* rad, misura simulata (0 in alto) */
    float applied_hz;             /* frequenza STEP applicata, firmata */
} HilRichiesta;

typedef struct __attribute__((packed))
{
    uint32_t seq;
    uint32_t errore;              /* stessi codici di controllo_errore; 8 = richiesta non valida */
    float azione;
    float richiesta_hz;
    float osservazione[6];
    float stima_x, stima_theta, stima_omega;
    uint32_t rete_us;             /* durata di ai_network_run */
    uint32_t totale_us;           /* stimatore + rete */
} HilRisposta;

_Static_assert(sizeof(HilRichiesta) == 58, "HilRichiesta");
_Static_assert(sizeof(HilRisposta) == 60, "HilRisposta");

static Stima hil_stima;
static HilRisposta hil_risposta;
volatile uint32_t hil_pacchetti = 0;
volatile uint32_t hil_scartati = 0;

static uint8_t Hil_Checksum(const uint8_t *dati, uint32_t n)
{
    uint8_t somma = 0;
    for (uint32_t i = 0; i < n; ++i)
        somma = (uint8_t)(somma + dati[i]);
    return (uint8_t)(0U - somma);
}

static uint8_t Hil_Ricevi(HilRichiesta *richiesta)
{
    uint8_t b = 0;
    do
    {
        if (HAL_UART_Receive(&huart2, &b, 1, HAL_MAX_DELAY) != HAL_OK)
            return 0;
        if (b == HIL_SYNC0
            && HAL_UART_Receive(&huart2, &b, 1, 20) == HAL_OK && b == HIL_SYNC1)
            break;
    } while (1);
    uint8_t corpo[sizeof(HilRichiesta) + 1U];
    if (HAL_UART_Receive(&huart2, corpo, sizeof corpo, 100) != HAL_OK)
        return 0;
    if (Hil_Checksum(corpo, sizeof(HilRichiesta)) != corpo[sizeof(HilRichiesta)])
        return 0;
    memcpy(richiesta, corpo, sizeof *richiesta);
    return 1;
}

static void Hil_Invia(const HilRisposta *risposta)
{
    uint8_t pacchetto[2U + sizeof(HilRisposta) + 1U];
    pacchetto[0] = HIL_SYNC0;
    pacchetto[1] = HIL_SYNC1;
    memcpy(&pacchetto[2], risposta, sizeof *risposta);
    pacchetto[sizeof pacchetto - 1U] = Hil_Checksum(&pacchetto[2], sizeof(HilRisposta));
    HAL_UART_Transmit(&huart2, pacchetto, sizeof pacchetto, 100);
}

static uint32_t Hil_Microsecondi(uint32_t cicli)
{
    return cicli / (SystemCoreClock / 1000000U);
}

/* Elabora una richiesta valida: stesso stimatore e stessa rete del controllo. */
static void Hil_Elabora(const HilRichiesta *r, HilRisposta *out)
{
    memset(out, 0, sizeof *out);
    out->seq = r->seq;
    if (r->comando == 2U)
        return;
    uint8_t valida = (r->comando <= 1U) && r->n <= HIL_MAX_PREDIZIONI
        && isfinite(r->x) && isfinite(r->theta) && isfinite(r->applied_hz);
    for (uint32_t i = 0; valida && i < r->n; ++i)
        valida = isfinite(r->v[i]);
    if (!valida || !rete_pronta)
    {
        out->errore = !rete_pronta ? 2U : 8U;
        return;
    }
    uint32_t inizio = DWT->CYCCNT;
    if (r->comando == 0U)
        Stima_Reset(&hil_stima, r->x, r->theta, 0.0f);
    else
    {
        for (uint32_t i = 0; i < r->n; ++i)
            Stima_Predici(&hil_stima, r->v[i], MOTOR_PERIOD_MS * 0.001f);
        Stima_Correggi(&hil_stima, r->x, r->theta);
    }
    Rete_Osservazione(&hil_stima, r->applied_hz, rete_osservazione);
    ai_float *input = (ai_float *)rete_input[0].data;
    for (uint32_t i = 0; i < 6U; ++i)
    {
        out->osservazione[i] = rete_osservazione[i];
        input[i] = rete_osservazione[i];
    }
    out->stima_x = hil_stima.x;
    out->stima_theta = hil_stima.theta;
    out->stima_omega = hil_stima.omega;
    uint32_t inizio_rete = DWT->CYCCNT;
    ai_i32 batches = ai_network_run(rete, rete_input, rete_output);
    uint32_t fine = DWT->CYCCNT;
    out->rete_us = Hil_Microsecondi(fine - inizio_rete);
    out->totale_us = Hil_Microsecondi(fine - inizio);
    if (batches != 1)
    {
        rete_ultimo_errore = ai_network_get_error(rete);
        out->errore = 2U;
        return;
    }
    float action = ((ai_float *)rete_output[0].data)[0];
    if (!isfinite(action))
    {
        out->errore = 3U;
        return;
    }
    action = fmaxf(-1.0f, fminf(action, 1.0f));
    out->azione = action;
    out->richiesta_hz = Rete_AzioneInHz(action);
    rete_azione = action;
    frequenza_richiesta_hz = out->richiesta_hz;
    ++rete_inferenze;
}

/* Non ritorna. Il motore non viene mai comandato in questa modalita'. */
static void Hil_Esegui(void)
{
    CoreDebug->DEMCR |= CoreDebug_DEMCR_TRCENA_Msk;
    DWT->CYCCNT = 0U;
    DWT->CTRL |= DWT_CTRL_CYCCNTENA_Msk;
    Stepper_Stop();
    uint8_t prima = 1;
    HilRichiesta richiesta;
    while (1)
    {
        if (!Hil_Ricevi(&richiesta))
        {
            ++hil_scartati;
            continue;
        }
        if (prima || richiesta.seq != hil_risposta.seq || richiesta.comando == 2U)
            Hil_Elabora(&richiesta, &hil_risposta);
        prima = 0;
        Hil_Invia(&hil_risposta);
        ++hil_pacchetti;
        HAL_GPIO_TogglePin(LD2_GPIO_Port, LD2_Pin);
    }
}
#endif /* HIL_MODE */

/* USER CODE END 0 */

int main(void)
{

  /* MCU Configuration--------------------------------------------------------*/

  /* Reset of all peripherals, Initializes the Flash interface and the Systick. */
  HAL_Init();

  /* Configure the system clock */
  SystemClock_Config();

  /* Initialize all configured peripherals */
  MX_GPIO_Init();
  MX_USART2_UART_Init();
  MX_TIM2_Init();
  MX_TIM3_Init();
  MX_CRC_Init();
  /* USER CODE BEGIN 2 */

  __HAL_TIM_SET_COUNTER(&htim2, 0U);
  conteggio_precedente = 0U;

  if (HAL_TIM_Encoder_Start(&htim2, TIM_CHANNEL_ALL) != HAL_OK)
  {
      Error_Handler();
  }

  if (!Rete_Init())
  {
      controllo_errore = 1;
      Error_Handler();
  }

#if HIL_MODE
  /* Nessun homing e nessun movimento: misure e comandi passano dal PC. */
  Hil_Esegui();
#endif

  /* Acquisire il riferimento del pendolo PRIMA di muovere il carrello. */
  if (Inizializza_Theta() != HAL_OK)
  {
      controllo_errore = 7;
      Error_Handler();
  }

  /* Homing automatico come prima, indipendente dal pulsante. */
  Inizializza();
  if (inizializzazione_esito != HAL_OK)
  {
      Error_Handler();
  }
  Calcola_LimitiControllo();

  /* Da qui B1 abilita/disabilita solo il controllo nel ciclo principale.
   * Le pressioni durante l'homing non vengono accodate.
   */
  Stepper_Stop();
  __HAL_GPIO_EXTI_CLEAR_IT(B1_Pin);
  HAL_NVIC_ClearPendingIRQ(EXTI15_10_IRQn);
  /* Aggiornamento dal riferimento pre-homing, NON una nuova calibrazione. */
  Leggi_theta();
  ultimo_theta_rad = theta_rad;
  ultimo_carrello_steps = posizione_carrello_steps;
  ultimo_campione_ms = HAL_GetTick();
  pulsante_inizializzato = 1;
  HAL_NVIC_EnableIRQ(EXTI15_10_IRQn);

  /* USER CODE END 2 */

  /* Infinite loop */
  /* USER CODE BEGIN WHILE */
  while (1)
  {
      if (!controllo_abilitato)
      {
          Rete_CambiaSeRichiesto();
          Controllo_AccettaAvvio();
      }
      Rete_Process();
      HAL_Delay(1);
    /* USER CODE END WHILE */

  }
}

void SystemClock_Config(void)
{
  RCC_OscInitTypeDef RCC_OscInitStruct = {0};
  RCC_ClkInitTypeDef RCC_ClkInitStruct = {0};

  /** Configure the main internal regulator output voltage
  */
  __HAL_RCC_PWR_CLK_ENABLE();
  __HAL_PWR_VOLTAGESCALING_CONFIG(PWR_REGULATOR_VOLTAGE_SCALE1);

  /** Initializes the RCC Oscillators according to the specified parameters
  * in the RCC_OscInitTypeDef structure.
  */
  RCC_OscInitStruct.OscillatorType = RCC_OSCILLATORTYPE_HSI;
  RCC_OscInitStruct.HSIState = RCC_HSI_ON;
  RCC_OscInitStruct.HSICalibrationValue = RCC_HSICALIBRATION_DEFAULT;
  RCC_OscInitStruct.PLL.PLLState = RCC_PLL_ON;
  RCC_OscInitStruct.PLL.PLLSource = RCC_PLLSOURCE_HSI;
  RCC_OscInitStruct.PLL.PLLM = 8;
  RCC_OscInitStruct.PLL.PLLN = 180;
  RCC_OscInitStruct.PLL.PLLP = 2;
  RCC_OscInitStruct.PLL.PLLQ = 2;
  RCC_OscInitStruct.PLL.PLLR = 2;
  if (HAL_RCC_OscConfig(&RCC_OscInitStruct) != HAL_OK)
  {
    Error_Handler();
  }

  /** Activate the Over-Drive mode
  */
  if (HAL_PWREx_EnableOverDrive() != HAL_OK)
  {
    Error_Handler();
  }

  /** Initializes the CPU, AHB and APB buses clocks
  */
  RCC_ClkInitStruct.ClockType = RCC_CLOCKTYPE_HCLK|RCC_CLOCKTYPE_SYSCLK
                              |RCC_CLOCKTYPE_PCLK1|RCC_CLOCKTYPE_PCLK2;
  RCC_ClkInitStruct.SYSCLKSource = RCC_SYSCLKSOURCE_PLLCLK;
  RCC_ClkInitStruct.AHBCLKDivider = RCC_SYSCLK_DIV1;
  RCC_ClkInitStruct.APB1CLKDivider = RCC_HCLK_DIV4;
  RCC_ClkInitStruct.APB2CLKDivider = RCC_HCLK_DIV2;

  if (HAL_RCC_ClockConfig(&RCC_ClkInitStruct, FLASH_LATENCY_5) != HAL_OK)
  {
    Error_Handler();
  }
}

static void MX_CRC_Init(void)
{

  hcrc.Instance = CRC;
  if (HAL_CRC_Init(&hcrc) != HAL_OK)
  {
    Error_Handler();
  }

}

static void MX_TIM2_Init(void)
{

  TIM_Encoder_InitTypeDef sConfig = {0};
  TIM_MasterConfigTypeDef sMasterConfig = {0};

  htim2.Instance = TIM2;
  htim2.Init.Prescaler = 0;
  htim2.Init.CounterMode = TIM_COUNTERMODE_UP;
  htim2.Init.Period = 4294967295;
  htim2.Init.ClockDivision = TIM_CLOCKDIVISION_DIV1;
  htim2.Init.AutoReloadPreload = TIM_AUTORELOAD_PRELOAD_DISABLE;
  sConfig.EncoderMode = TIM_ENCODERMODE_TI12;
  sConfig.IC1Polarity = TIM_ICPOLARITY_RISING;
  sConfig.IC1Selection = TIM_ICSELECTION_DIRECTTI;
  sConfig.IC1Prescaler = TIM_ICPSC_DIV1;
  sConfig.IC1Filter = 15;
  sConfig.IC2Polarity = TIM_ICPOLARITY_RISING;
  sConfig.IC2Selection = TIM_ICSELECTION_DIRECTTI;
  sConfig.IC2Prescaler = TIM_ICPSC_DIV1;
  sConfig.IC2Filter = 15;
  if (HAL_TIM_Encoder_Init(&htim2, &sConfig) != HAL_OK)
  {
    Error_Handler();
  }
  sMasterConfig.MasterOutputTrigger = TIM_TRGO_RESET;
  sMasterConfig.MasterSlaveMode = TIM_MASTERSLAVEMODE_DISABLE;
  if (HAL_TIMEx_MasterConfigSynchronization(&htim2, &sMasterConfig) != HAL_OK)
  {
    Error_Handler();
  }

}

static void MX_TIM3_Init(void)
{

  TIM_ClockConfigTypeDef sClockSourceConfig = {0};
  TIM_MasterConfigTypeDef sMasterConfig = {0};
  TIM_OC_InitTypeDef sConfigOC = {0};

  htim3.Instance = TIM3;
  htim3.Init.Prescaler = 83;
  htim3.Init.CounterMode = TIM_COUNTERMODE_UP;
  htim3.Init.Period = 124;
  htim3.Init.ClockDivision = TIM_CLOCKDIVISION_DIV1;
  htim3.Init.AutoReloadPreload = TIM_AUTORELOAD_PRELOAD_ENABLE;
  if (HAL_TIM_Base_Init(&htim3) != HAL_OK)
  {
    Error_Handler();
  }
  sClockSourceConfig.ClockSource = TIM_CLOCKSOURCE_INTERNAL;
  if (HAL_TIM_ConfigClockSource(&htim3, &sClockSourceConfig) != HAL_OK)
  {
    Error_Handler();
  }
  if (HAL_TIM_PWM_Init(&htim3) != HAL_OK)
  {
    Error_Handler();
  }
  sMasterConfig.MasterOutputTrigger = TIM_TRGO_RESET;
  sMasterConfig.MasterSlaveMode = TIM_MASTERSLAVEMODE_DISABLE;
  if (HAL_TIMEx_MasterConfigSynchronization(&htim3, &sMasterConfig) != HAL_OK)
  {
    Error_Handler();
  }
  sConfigOC.OCMode = TIM_OCMODE_PWM1;
  sConfigOC.Pulse = 6;
  sConfigOC.OCPolarity = TIM_OCPOLARITY_HIGH;
  sConfigOC.OCFastMode = TIM_OCFAST_DISABLE;
  if (HAL_TIM_PWM_ConfigChannel(&htim3, &sConfigOC, TIM_CHANNEL_1) != HAL_OK)
  {
    Error_Handler();
  }
  HAL_TIM_MspPostInit(&htim3);

}

static void MX_USART2_UART_Init(void)
{

  huart2.Instance = USART2;
  huart2.Init.BaudRate = 115200;
  huart2.Init.WordLength = UART_WORDLENGTH_8B;
  huart2.Init.StopBits = UART_STOPBITS_1;
  huart2.Init.Parity = UART_PARITY_NONE;
  huart2.Init.Mode = UART_MODE_TX_RX;
  huart2.Init.HwFlowCtl = UART_HWCONTROL_NONE;
  huart2.Init.OverSampling = UART_OVERSAMPLING_16;
  if (HAL_UART_Init(&huart2) != HAL_OK)
  {
    Error_Handler();
  }

}

static void MX_GPIO_Init(void)
{
  GPIO_InitTypeDef GPIO_InitStruct = {0};

  /* GPIO Ports Clock Enable */
  __HAL_RCC_GPIOC_CLK_ENABLE();
  __HAL_RCC_GPIOH_CLK_ENABLE();
  __HAL_RCC_GPIOA_CLK_ENABLE();
  __HAL_RCC_GPIOB_CLK_ENABLE();

  /*Configure GPIO pin Output Level */
  HAL_GPIO_WritePin(DIR_GPIO_Port, DIR_Pin, GPIO_PIN_RESET);

  /*Configure GPIO pin Output Level */
  HAL_GPIO_WritePin(LD2_GPIO_Port, LD2_Pin, GPIO_PIN_RESET);

  /*Configure GPIO pin : B1_Pin */
  GPIO_InitStruct.Pin = B1_Pin;
  GPIO_InitStruct.Mode = GPIO_MODE_IT_RISING_FALLING;
  GPIO_InitStruct.Pull = GPIO_NOPULL;
  HAL_GPIO_Init(B1_GPIO_Port, &GPIO_InitStruct);

  /*Configure GPIO pin : DIR_Pin */
  GPIO_InitStruct.Pin = DIR_Pin;
  GPIO_InitStruct.Mode = GPIO_MODE_OUTPUT_PP;
  GPIO_InitStruct.Pull = GPIO_NOPULL;
  GPIO_InitStruct.Speed = GPIO_SPEED_FREQ_LOW;
  HAL_GPIO_Init(DIR_GPIO_Port, &GPIO_InitStruct);

  /*Configure GPIO pins : FC_sx_Pin Fc_dx_Pin */
  GPIO_InitStruct.Pin = FC_sx_Pin|Fc_dx_Pin;
  GPIO_InitStruct.Mode = GPIO_MODE_INPUT;
  GPIO_InitStruct.Pull = GPIO_PULLDOWN;
  HAL_GPIO_Init(GPIOC, &GPIO_InitStruct);

  /*Configure GPIO pin : LD2_Pin */
  GPIO_InitStruct.Pin = LD2_Pin;
  GPIO_InitStruct.Mode = GPIO_MODE_OUTPUT_PP;
  GPIO_InitStruct.Pull = GPIO_NOPULL;
  GPIO_InitStruct.Speed = GPIO_SPEED_FREQ_LOW;
  HAL_GPIO_Init(LD2_GPIO_Port, &GPIO_InitStruct);

  /* EXTI interrupt init*/
  HAL_NVIC_SetPriority(EXTI15_10_IRQn, 0, 0);

/* USER CODE BEGIN MX_GPIO_Init_2 */
  /* Abilitazione rimandata al main, dopo Inizializza(). */
  HAL_NVIC_DisableIRQ(EXTI15_10_IRQn);
  HAL_NVIC_SetPriority(EXTI15_10_IRQn, 0, 0);
/* USER CODE END MX_GPIO_Init_2 */
}

/* USER CODE BEGIN 4 */
void HAL_GPIO_EXTI_Callback(uint16_t GPIO_Pin)
{
    if (GPIO_Pin != B1_Pin || !pulsante_inizializzato)
        return;
    /* Entrambi i fronti azzerano il tempo di rilascio: anche un breve
     * rimbalzo fra due SysTick non puo' riarmare il pulsante. */
    pulsante_rilascio_ms = 0;
    if (HAL_GPIO_ReadPin(B1_GPIO_Port, B1_Pin) != GPIO_PIN_RESET
        || !pulsante_pronto)
        return;
    pulsante_pronto = 0;
    if (controllo_abilitato || richiesta_avvio)
    {
        richiesta_avvio = 0;
        Controllo_Disabilita(); /* Stop PWM qui, senza attendere il main. */
    }
    else
        richiesta_avvio = 1; /* Avvio del controllo nel ciclo principale. */
}

void HAL_TIM_PWM_PulseFinishedCallback(TIM_HandleTypeDef *htim)
{
    if (htim->Instance != TIM3 || htim->Channel != HAL_TIM_ACTIVE_CHANNEL_1
        || !stepper_running || !Stepper_MovimentoConsentito())
        return;

    step_count++;
    if (riferimento_carrello_valido)
        posizione_carrello_steps += (stepper_direction == DIR_FORWARD) ? -1 : 1;

    if (FinecorsaDirezione_Premuto(stepper_direction))
    {
        Stepper_Stop();
        arresto_finecorsa = 1;
        if (pulsante_inizializzato)
            Controllo_Fault(4);
        return;
    }

    if (pulsante_inizializzato
        && (posizione_carrello_steps <= limite_controllo_min_steps
            || posizione_carrello_steps >= limite_controllo_max_steps))
    {
        Controllo_Fault(4);
        return;
    }
    if (stop_al_fronte_step)
    {
        GPIO_PinState dir = direzione_dopo_arresto;
        Stepper_Stop();
        /* DIR cambia a fine impulso: almeno un periodo di rampa prima del successivo. */
        Stepper_SetDirection(dir);
        return;
    }

    /* Il movimento continuo non ha un numero di passi limite. */
    if (step_target != 0U && step_count >= step_target)
    {
        Stepper_Stop();
        return;
    }
    Stepper_UpdateRamp();
}

/* USER CODE END 4 */

void Error_Handler(void)
{
  /* USER CODE BEGIN Error_Handler_Debug */
  /* User can add his own implementation to report the HAL error return state */
  __disable_irq();
  /* Fermare l'hardware PRIMA del blocco: il PWM continua senza CPU. */
  if (htim3.Instance == TIM3)
      Controllo_Disabilita();
  while (1)
  {
  }
  /* USER CODE END Error_Handler_Debug */
}
